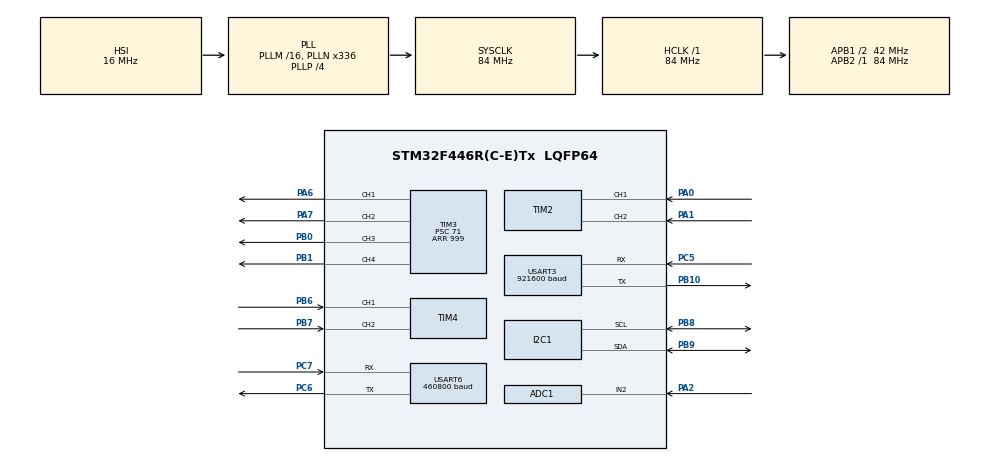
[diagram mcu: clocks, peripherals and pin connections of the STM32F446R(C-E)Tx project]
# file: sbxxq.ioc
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ADC1.Channel-0\#ChannelRegularConversion=ADC_CHANNEL_2
ADC1.ContinuousConvMode=ENABLE
ADC1.NbrOfConversionFlag=1
ADC1.Rank-0\#ChannelRegularConversion=1
ADC1.SamplingTime-0\#ChannelRegularConversion=ADC_SAMPLETIME_3CYCLES
ADC1.ScanConvMode=ENABLE
ADC1.master=1
Dma.Request0=USART6_RX
Dma.USART6_RX.0.Direction=DMA_PERIPH_TO_MEMORY
Dma.USART6_RX.0.FIFOMode=DMA_FIFOMODE_DISABLE
Dma.USART6_RX.0.Instance=DMA2_Stream1
Dma.USART6_RX.0.MemDataAlignment=DMA_MDATAALIGN_BYTE
Dma.USART6_RX.0.MemInc=DMA_MINC_ENABLE
Dma.USART6_RX.0.Mode=DMA_CIRCULAR
Dma.USART6_RX.0.PeriphDataAlignment=DMA_PDATAALIGN_BYTE
Dma.USART6_RX.0.PeriphInc=DMA_PINC_DISABLE
Dma.USART6_RX.0.Priority=DMA_PRIORITY_LOW
Mcu.Family=STM32F4
Mcu.Name=STM32F446R(C-E)Tx
Mcu.Package=LQFP64
NVIC.DMA2_Stream1_IRQn=true\:0\:0\:false\:false\:true\:false\:true\:true
NVIC.PriorityGroup=NVIC_PRIORITYGROUP_4
NVIC.USART3_IRQn=true\:0\:0\:false\:false\:true\:true\:true\:true
NVIC.USART6_IRQn=true\:0\:0\:false\:false\:true\:true\:true\:true
PA0-WKUP.Signal=S_TIM2_CH1_ETR
PA1.Signal=S_TIM2_CH2
PA13.Mode=Serial_Wire
PA13.Signal=SYS_JTMS-SWDIO
PA14.Mode=Serial_Wire
PA14.Signal=SYS_JTCK-SWCLK
PA2.Signal=ADCx_IN2
PA6.Signal=S_TIM3_CH1
PA7.Signal=S_TIM3_CH2
PB0.Signal=S_TIM3_CH3
PB1.Signal=S_TIM3_CH4
PB10.Mode=Asynchronous
PB10.Signal=USART3_TX
PB6.Signal=S_TIM4_CH1
PB7.Signal=S_TIM4_CH2
PB8.Mode=I2C
PB8.Signal=I2C1_SCL
PB9.Mode=I2C
PB9.Signal=I2C1_SDA
PC14-OSC32_IN.Mode=LSE-External-Oscillator
PC14-OSC32_IN.Signal=RCC_OSC32_IN
PC15-OSC32_OUT.Mode=LSE-External-Oscillator
PC15-OSC32_OUT.Signal=RCC_OSC32_OUT
PC5.Mode=Asynchronous
PC5.Signal=USART3_RX
PC6.Mode=Asynchronous
PC6.Signal=USART6_TX
PC7.Mode=Asynchronous
PC7.Signal=USART6_RX
PH0-OSC_IN.Mode=HSE-External-Oscillator
PH0-OSC_IN.Signal=RCC_OSC_IN
PH1-OSC_OUT.Mode=HSE-External-Oscillator
PH1-OSC_OUT.Signal=RCC_OSC_OUT
ProjectManager.HeapSize=0x200
ProjectManager.StackSize=0x400
ProjectManager.TargetToolchain=MDK-ARM V5.32
RCC.AHBFreq_Value=84000000
RCC.APB1CLKDivider=RCC_HCLK_DIV2
RCC.APB1Freq_Value=42000000
RCC.APB1TimFreq_Value=84000000
RCC.APB2Freq_Value=84000000
RCC.APB2TimFreq_Value=84000000
RCC.CortexFreq_Value=84000000
RCC.HCLKFreq_Value=84000000
RCC.HSE_VALUE=8000000
RCC.PLLN=336
RCC.PLLP=RCC_PLLP_DIV4
RCC.SYSCLKFreq_VALUE=84000000
RCC.SYSCLKSource=RCC_SYSCLKSOURCE_PLLCLK
RCC.USBFreq_Value=168000000
RCC.VCOOutputFreq_Value=336000000
SH.ADCx_IN2.0=ADC1_IN2,IN2
SH.S_TIM2_CH1_ETR.0=TIM2_CH1,Encoder_Interface
SH.S_TIM2_CH2.0=TIM2_CH2,Encoder_Interface
SH.S_TIM3_CH1.0=TIM3_CH1,PWM Generation1 CH1
SH.S_TIM3_CH2.0=TIM3_CH2,PWM Generation2 CH2
SH.S_TIM3_CH3.0=TIM3_CH3,PWM Generation3 CH3
SH.S_TIM3_CH4.0=TIM3_CH4,PWM Generation4 CH4
SH.S_TIM4_CH1.0=TIM4_CH1,Encoder_Interface
SH.S_TIM4_CH2.0=TIM4_CH2,Encoder_Interface
TIM3.Channel-PWM\ Generation1\ CH1=TIM_CHANNEL_1
TIM3.Channel-PWM\ Generation2\ CH2=TIM_CHANNEL_2
TIM3.Channel-PWM\ Generation3\ CH3=TIM_CHANNEL_3
TIM3.Channel-PWM\ Generation4\ CH4=TIM_CHANNEL_4
TIM3.Period=999
TIM3.Prescaler=71
TIM3.Pulse-PWM\ Generation1\ CH1=500
TIM3.Pulse-PWM\ Generation2\ CH2=500
TIM3.Pulse-PWM\ Generation3\ CH3=500
TIM3.Pulse-PWM\ Generation4\ CH4=500
USART3.BaudRate=921600
USART3.VirtualMode=VM_ASYNC
USART6.BaudRate=460800
USART6.VirtualMode=VM_ASYNC
VP_TIM3_VS_ClockSourceINT.Mode=Internal
board=custom

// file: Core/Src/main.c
/* USER CODE BEGIN Header */
/**
  ******************************************************************************
  * @file           : main.c
  * @brief          : Main program body
  ******************************************************************************
  * @attention
  *
  * Copyright (c) 2025 STMicroelectronics.
  * All rights reserved.
  *
  * This software is licensed under terms that can be found in the LICENSE file
  * in the root directory of this software component.
  * If no LICENSE file comes with this software, it is provided AS-IS.
  *
  ******************************************************************************
  */
/* USER CODE END Header */
#include "main.h"
#include "adc.h"
#include "dma.h"
#include "i2c.h"
#include "tim.h"
#include "usart.h"
#include "gpio.h"

/* USER CODE BEGIN Includes */
#include "IMU.h"
#include "syscalls.h"
#include "motor.h"
#include <stdio.h>
#include <string.h>
#include "encoder.h"
#include "encoder_speed.h"
#include <math.h>
/* USER CODE END Includes */

/* USER CODE BEGIN PV */
SensorData imuData;
uint32_t imu_prev_time = 0;
int speedon=0;
int mpuon=0;
uint8_t is_first_call = 1;
float last_angle = 0.0f;
uint8_t rx3buf[2];
uint8_t rx6buf[64];
uint8_t flag[]={0xFF,0xFF,0xFF,0xFF,0xFF,0xFF,0xFF,0xFF,0xFF,0xFF};
#define M_PI 3.14159265358979323846
Encoder_Data_t encoder_data;
uint32_t encoder_update_timer = 0;
uint32_t encoder_print_timer = 0;

uint8_t txtstop[]="stop";
uint8_t txtforward[]="forward";
uint8_t txtbackward[]="backward";
uint8_t txtleft[]="left";
uint8_t txtright[]="right";
uint8_t txtrdstop[]="radarstop";
uint8_t txtrdstart[]="radarstart";
uint8_t txtrdstate[]="radarstate: ";
uint8_t txtA5[]="A5 ";
char txtnewcommand[3];

uint8_t txtundentified[]="undentified";

// ????
float x_d = 0.0f;
float y_d = 0.0f;
float last_x = 0.0f;
float last_y= 0.0f;
float diff_x = 0.0f;
float diff_y = 0.0f;
 char encoder_info[128];
 double instant_distance=0.0;
// ????????????????
float prev_left_distance = 0.0f;
float prev_right_distance = 0.0f;

/* USER CODE END PV */

void SystemClock_Config(void);
/* USER CODE BEGIN PFP */
extern void ParseData(void);
extern void Parseradar(uint8_t *data);
/* USER CODE END PFP */

/* USER CODE BEGIN 0 */

void HAL_UART_RxCpltCallback(UART_HandleTypeDef *huart)
{
  if (huart->Instance == USART3)
  {
    //if (!bluetooth_connected) bluetooth_connected = 1;
		//HAL_UART_Transmit(&huart3, rx3buf,2,1000);
    switch (rx3buf[0])

		{
			case 0x00:
				switch(rx3buf[1])
				{
					case 0x00:
						HAL_UART_Transmit(&huart3,txtstop,sizeof(txtstop)-1,100);
						Motor_Stop();
						break;
					case 0x01:
						HAL_UART_Transmit(&huart3,txtforward,sizeof(txtforward)-1,100);
						Motor_Forward(150);
						break;
					case 0x02:
						HAL_UART_Transmit(&huart3,txtbackward,sizeof(txtbackward)-1,100);
						Motor_Backward(150);
						break;
					case 0x03:
						HAL_UART_Transmit(&huart3,txtleft,sizeof(txtleft)-1,100);
						Motor_TurnLeft(400,400);
						break;
					case 0x04:
						HAL_UART_Transmit(&huart3,txtright,sizeof(txtright)-1,100);
						Motor_TurnRight(400,400);
						break;
					case 0x05:
        // ???????
        Encoder_Data_Reset(&encoder_data);
        // ???????????
        x_d = 0.0f;
        y_d = 0.0f;
        prev_left_distance = 0.0f;
        prev_right_distance = 0.0f;
        HAL_UART_Transmit(&huart3, (uint8_t*)"Encoder Reset\r\n", 15, 1000);

        break;
					case 0x06:
						speedon=1-speedon;
					break;
					case 0x07:
						mpuon=1-mpuon;
					break;
					case 0x08: // ??:??????(????0x08 0x00???)
            if (rx3buf[1] == 0x00) {
               IMU_InitYawReference(&imuData); // ?????0�
               HAL_UART_Transmit(&huart3, (uint8_t*)"Angle reset to 0\n", 17, 100);
                }
          break;
					case 0x09: {
                     char msg[100];
                     float current_angle = imuData.yaw;
                     sprintf(msg, "Current Angle: %.2f degrees\n", current_angle);
                     HAL_UART_Transmit(&huart3, (uint8_t*)msg, strlen(msg), 100);
                     float diff;
                     if (is_first_call) {
                         diff = current_angle - 0.0f;  // ???:???? - 0

                         is_first_call = 0;            // ???????

                     } else {
                         diff = current_angle - last_angle;  // ????:?? - ???
											   diff_x=x_d - last_x;
											 diff_y=y_d - last_y;
                     }
                     sprintf(msg, "Angle Difference (new - old): %.2f degrees\n X Difference:%.2f cm Y Difference:%.2f cm", diff,diff_x,diff_y);
                     HAL_UART_Transmit(&huart3, (uint8_t*)msg, strlen(msg), 100);
                     last_angle = current_angle;  // ???????????�???�
						         last_x = x_d;
										 last_y = y_d;
                     break;
                    }
					case 0x10:{
					motor_is_stop = 1;
						break;
					}
					case 0x11:{
					motor_is_stop = 0;
						break;
					}
			/*
			case 0xA525:
				HAL_UART_Transmit(&huart3, flag,10,1000);
				HAL_UART_Transmit(&huart6,rx3buf,2,1000);
				HAL_UART_Transmit(&huart3,rx3buf,2,1000);
				break;
			case 0xA520:
				HAL_UART_Transmit(&huart3, flag,10,1000);
				HAL_UART_Transmit(&huart6,rx3buf,2,1000);
				HAL_UART_Transmit(&huart3,rx3buf,2,1000);
				break;
			*/
		  default:
				HAL_UART_Transmit(&huart6,rx3buf,1,1000);
				HAL_UART_Transmit(&huart3,rx3buf,1,1000);
				}
				break;
			case 0xA5:
				switch(rx3buf[1])
				{
					case 0x25:
						HAL_UART_Transmit(&huart3,txtrdstop,sizeof(txtrdstop)-1,100);
						HAL_UART_Transmit(&huart6,rx3buf,2,100);
						break;
					case 0x20:
						HAL_UART_Transmit(&huart3,txtrdstart,sizeof(txtrdstart)-1,100);
						HAL_UART_Transmit(&huart6,rx3buf,2,100);
						break;
					case 0x52:
						if(motor_is_stop == 1){
						HAL_UART_Transmit(&huart3,txtrdstate,sizeof(txtrdstate)-1,100);
						HAL_UART_Transmit(&huart6,rx3buf,2,100);
						break;}
					default:
						HAL_UART_Transmit(&huart3,txtA5,sizeof(txtA5)-1,100);
						sprintf(txtnewcommand,"%02x",rx3buf[1]);
						HAL_UART_Transmit(&huart3,(uint8_t*)txtnewcommand,sizeof(txtnewcommand)-1,100);
						HAL_UART_Transmit(&huart6,rx3buf,2,100);
				}
				break;
		  default:
				HAL_UART_Transmit(&huart3,txtundentified,sizeof(txtundentified)-1,100);
		}
		HAL_UART_Receive_IT(&huart3, rx3buf, 2);
	}
}

/*
void HAL_UART_RxCpltCallback(UART_HandleTypeDef *huart)
{
  if (huart->Instance == USART3)
  {
    //if (!bluetooth_connected) bluetooth_connected = 1;
		//HAL_UART_Transmit(&huart3, rx3buf,2,1000);
		HAL_UART_Transmit(&huart6,flag,sizeof(flag),100);
      switch (rx3buf[0])
      {
      case 0x00:
        Motor_Stop();
        break;
      case 0x01:
        Motor_Forward(400);
        break;
      case 0x02:
        Motor_Backward(400);
        break;
      case 0x03:
        Motor_TurnLeft(400,400);
        break;
      case 0x04:
        Motor_TurnRight(400,400);
        break;
		  default:
				HAL_UART_Transmit(&huart6,rx3buf,2,100);
				HAL_UART_Transmit(&huart3,rx3buf,2,100);
    }
    HAL_UART_Receive_IT(&huart3, rx3buf, 2);
  }
}
*/
/* USER CODE END 0 */

int main(void)
{

  /* USER CODE BEGIN 1 */
float dt=0.0f;
  /* USER CODE END 1 */

  /* MCU Configuration--------------------------------------------------------*/

  /* Reset of all peripherals, Initializes the Flash interface and the Systick. */
  HAL_Init();

  /* Configure the system clock */
  SystemClock_Config();

  /* Initialize all configured peripherals */
  MX_GPIO_Init();
  MX_DMA_Init();
  MX_ADC1_Init();
  MX_TIM3_Init();
  MX_TIM2_Init();
  MX_TIM4_Init();
  MX_USART3_UART_Init();
  MX_USART6_UART_Init();
  MX_I2C1_Init();
  /* USER CODE BEGIN 2 */
	Motor_Init();        // ? ?????? PWM
	Encoder_Init();  // ??????
	Encoder_Data_Init();  // ??????????
	//HAL_UART_Receive_IT(&huart3, rx3buf, 1);
	IMU_Init();          // ? ?? MPU6500 ?????,? HAL_I2C_Init
	IMU_InitYawReference(&imuData);
  IMU_CalibrateGyroZ(&imuData);
  imu_prev_time = HAL_GetTick();
	HAL_UART_Receive_IT(&huart3, rx3buf, sizeof(rx3buf));
	HAL_UART_Receive_DMA(&huart6, rx6buf, sizeof(rx6buf));

	__HAL_UART_ENABLE_IT(&huart6, UART_IT_IDLE);
	HAL_UART_Transmit(&huart3, (uint8_t*)"start trying\n", 14, 100);
  /* USER CODE END 2 */

  /* Infinite loop */
  while (1)
  {
		ParseData();
		 // ???????(?10ms????)
    uint32_t current_time = HAL_GetTick();
    if (current_time - encoder_update_timer >= 10)
    {
        Encoder_Data_Update(&encoder_data);
        // 更新PID控制器的实际速度反馈

        // ??:????
			if(motor_is_stop==0){
				Motor_UpdateActualSpeed(encoder_data.left_speed_cm_s, encoder_data.right_speed_cm_s);
        IMU_ReadSensor(&imuData);  // ?????????
        dt = (current_time - imu_prev_time) / 1000.0f;  // ??????(?)
        IMU_UpdateYaw(&imuData, dt);  // ??????
        imu_prev_time = current_time;  // ?????

			  encoder_update_timer = current_time;
			        // ???????????
        double rad = imuData.yaw * M_PI / 180.0;

        // ??????????? - ?????
        float current_left_distance = encoder_data.left_distance_cm;
        float current_right_distance = encoder_data.right_distance_cm;
        float instant_left_distance = current_left_distance - prev_left_distance;
        float instant_right_distance = current_right_distance - prev_right_distance;
         instant_distance = (instant_left_distance + instant_right_distance) ; // ????

        // ????
        x_d = x_d + instant_distance * cos(rad);
        y_d = y_d + instant_distance * sin(rad);

        // ?????????
        prev_left_distance = current_left_distance;
        prev_right_distance = current_right_distance;
    }
	}
    // ???????(?500ms????)
		if (current_time - encoder_print_timer >= 2000)
    {

        sprintf(encoder_info, "x:%.2f,y:%.2f",x_d, y_d);

        if(speedon==1)
				{
					HAL_UART_Transmit(&huart3, (uint8_t*)encoder_info, strlen(encoder_info), 1000);}
        encoder_print_timer = current_time;

    IMU_ReadSensor(&imuData);
		if(mpuon==1){
    IMU_PrintRawData(&imuData);
    IMU_PrintPhysicalValues(&imuData);
	}
    }
  }
}

void SystemClock_Config(void)
{
  RCC_OscInitTypeDef RCC_OscInitStruct = {0};
  RCC_ClkInitTypeDef RCC_ClkInitStruct = {0};

  /** Configure the main internal regulator output voltage
  */
  __HAL_RCC_PWR_CLK_ENABLE();
  __HAL_PWR_VOLTAGESCALING_CONFIG(PWR_REGULATOR_VOLTAGE_SCALE3);

  /** Initializes the RCC Oscillators according to the specified parameters
  * in the RCC_OscInitTypeDef structure.
  */
  RCC_OscInitStruct.OscillatorType = RCC_OSCILLATORTYPE_HSI;
  RCC_OscInitStruct.HSIState = RCC_HSI_ON;
  RCC_OscInitStruct.HSICalibrationValue = RCC_HSICALIBRATION_DEFAULT;
  RCC_OscInitStruct.PLL.PLLState = RCC_PLL_ON;
  RCC_OscInitStruct.PLL.PLLSource = RCC_PLLSOURCE_HSI;
  RCC_OscInitStruct.PLL.PLLM = 16;
  RCC_OscInitStruct.PLL.PLLN = 336;
  RCC_OscInitStruct.PLL.PLLP = RCC_PLLP_DIV4;
  RCC_OscInitStruct.PLL.PLLQ = 2;
  RCC_OscInitStruct.PLL.PLLR = 2;
  if (HAL_RCC_OscConfig(&RCC_OscInitStruct) != HAL_OK)
  {
    Error_Handler();
  }

  /** Initializes the CPU, AHB and APB buses clocks
  */
  RCC_ClkInitStruct.ClockType = RCC_CLOCKTYPE_HCLK|RCC_CLOCKTYPE_SYSCLK
                              |RCC_CLOCKTYPE_PCLK1|RCC_CLOCKTYPE_PCLK2;
  RCC_ClkInitStruct.SYSCLKSource = RCC_SYSCLKSOURCE_PLLCLK;
  RCC_ClkInitStruct.AHBCLKDivider = RCC_SYSCLK_DIV1;
  RCC_ClkInitStruct.APB1CLKDivider = RCC_HCLK_DIV2;
  RCC_ClkInitStruct.APB2CLKDivider = RCC_HCLK_DIV1;

  if (HAL_RCC_ClockConfig(&RCC_ClkInitStruct, FLASH_LATENCY_2) != HAL_OK)
  {
    Error_Handler();
  }
}

void Error_Handler(void)
{
  __disable_irq();
  while (1)
  {
  }
}
